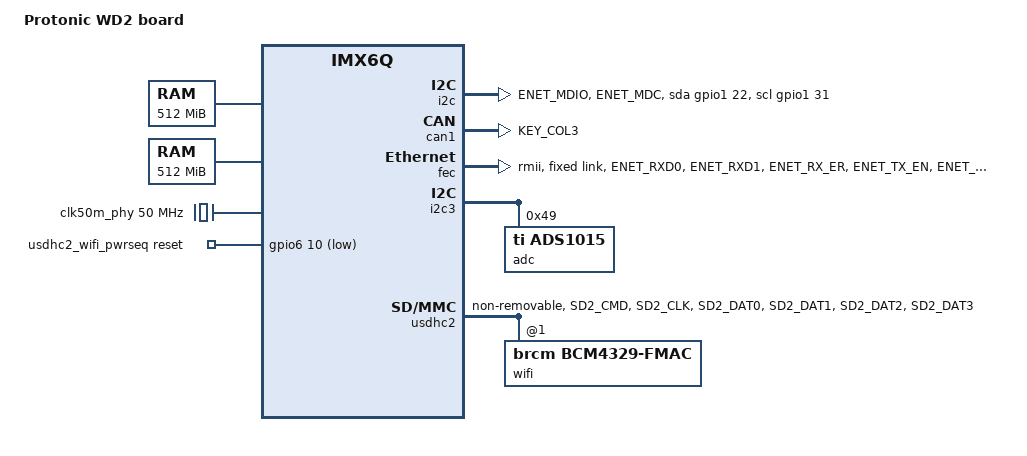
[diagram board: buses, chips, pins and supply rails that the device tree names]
// SPDX-License-Identifier: GPL-2.0-or-later
/*
 * Copyright (c) 2018 Protonic Holland
 */

/dts-v1/;
#include "imx6q.dtsi"
#include "imx6qdl-prti6q.dtsi"
#include <dt-bindings/leds/common.h>

/ {
	model = "Protonic WD2 board";
	compatible = "prt,prtwd2", "fsl,imx6q";

	memory@10000000 {
		device_type = "memory";
		reg = <0x10000000 0x20000000>;
	};

	memory@80000000 {
		device_type = "memory";
		reg = <0x80000000 0x20000000>;
	};

	clk50m_phy: phy-clock {
		compatible = "fixed-clock";
		#clock-cells = <0>;
		clock-frequency = <50000000>;
		clock-output-names = "enet_ref_pad";
	};

	usdhc2_wifi_pwrseq: usdhc2_wifi_pwrseq {
		compatible = "mmc-pwrseq-simple";
		pinctrl-names = "default";
		pinctrl-0 = <&pinctrl_wifi_npd>;
		reset-gpios = <&gpio6 10 GPIO_ACTIVE_LOW>;
	};

	/* PRTWD2 rev 1 bitbang I2C for Ethernet Switch */
	i2c {
		compatible = "i2c-gpio";
		pinctrl-names = "default";
		pinctrl-0 = <&pinctrl_i2c4>;
		sda-gpios = <&gpio1 22 (GPIO_ACTIVE_HIGH|GPIO_OPEN_DRAIN)>;
		scl-gpios = <&gpio1 31 GPIO_ACTIVE_HIGH>;
		i2c-gpio,delay-us = <20>;	/* ~10 kHz */
		i2c-gpio,scl-output-only;
		#address-cells = <1>;
		#size-cells = <0>;
	};
};

&can1 {
	pinctrl-names = "default";
	pinctrl-0 = <&pinctrl_can1 &pinctrl_can1phy>;
	status = "okay";
};

&clks {
	clocks = <&clk50m_phy>;
	clock-names = "enet_ref_pad";
	assigned-clocks = <&clks IMX6QDL_CLK_ENET_REF_SEL>;
	assigned-clock-parents = <&clk50m_phy>;
};

&fec {
	pinctrl-names = "default";
	pinctrl-0 = <&pinctrl_enet>;
	phy-mode = "rmii";
	status = "okay";

	fixed-link {
		speed = <100>;
		pause;
		full-duplex;
	};
};

&i2c3 {
	adc@49 {
		compatible = "ti,ads1015";
		reg = <0x49>;
		#address-cells = <1>;
		#size-cells = <0>;

		/* V in */
		channel@4 {
			reg = <4>;
			ti,gain = <1>;
			ti,datarate = <3>;
		};

		/* I charge */
		channel@5 {
			reg = <5>;
			ti,gain = <1>;
			ti,datarate = <3>;
		};

		/* V bus  */
		channel@6 {
			reg = <6>;
			ti,gain = <1>;
			ti,datarate = <3>;
		};

		/* nc */
		channel@7 {
			reg = <7>;
			ti,gain = <1>;
			ti,datarate = <3>;
		};
	};
};

&usdhc2 {
	pinctrl-names = "default";
	pinctrl-0 = <&pinctrl_usdhc2>;
	no-1-8-v;
	non-removable;
	mmc-pwrseq = <&usdhc2_wifi_pwrseq>;
	#address-cells = <1>;
	#size-cells = <0>;
	status = "okay";

	wifi@1 {
		compatible = "brcm,bcm4329-fmac";
		reg = <1>;
	};
};

&iomuxc {
	pinctrl-names = "default";
	pinctrl-0 = <&pinctrl_usb_eth_chg>;

	pinctrl_can1phy: can1phy {
		fsl,pins = <
			/* CAN1_SR */
			MX6QDL_PAD_KEY_COL3__GPIO4_IO12	0x13070
		>;
	};

	pinctrl_enet: enetgrp {
		fsl,pins = <
			/* MX6QDL_ENET_PINGRP4 */
			MX6QDL_PAD_ENET_RXD0__ENET_RX_DATA0	0x1b0b0
			MX6QDL_PAD_ENET_RXD1__ENET_RX_DATA1	0x1b0b0
			MX6QDL_PAD_ENET_RX_ER__ENET_RX_ER	0x130b0
			MX6QDL_PAD_ENET_TX_EN__ENET_TX_EN	0x1b0b0
			MX6QDL_PAD_ENET_TXD0__ENET_TX_DATA0	0x1b0b0
			MX6QDL_PAD_ENET_TXD1__ENET_TX_DATA1	0x1b0b0
			MX6QDL_PAD_ENET_CRS_DV__ENET_RX_EN	0x1b0b0

			MX6QDL_PAD_GPIO_16__ENET_REF_CLK	0x1b0b0
			/* Phy reset */
			MX6QDL_PAD_CSI0_DAT4__GPIO5_IO22	0x1b0b0
			/* nINTRP */
			MX6QDL_PAD_CSI0_DAT5__GPIO5_IO23	0x1b0b0

			MX6QDL_PAD_ENET_MDIO__ENET_MDIO		0x10030
			MX6QDL_PAD_ENET_MDC__ENET_MDC		0x10030
		>;
	};

	pinctrl_i2c4: i2c4grp {
		fsl,pins = <
			MX6QDL_PAD_ENET_MDIO__GPIO1_IO22	0x1f8b0
			MX6QDL_PAD_ENET_MDC__GPIO1_IO31		0x1f8b0
		>;
	};

	pinctrl_usb_eth_chg: usbethchggrp {
		fsl,pins = <
			/* USB charging control */
			MX6QDL_PAD_NANDF_CS0__GPIO6_IO11	0x130b0
			MX6QDL_PAD_NANDF_CS1__GPIO6_IO14	0x130b0
			MX6QDL_PAD_NANDF_CS2__GPIO6_IO15	0x130b0
			MX6QDL_PAD_NANDF_CS3__GPIO6_IO16	0x130b0
			>;
	};

	pinctrl_usdhc2: usdhc2grp {
		fsl,pins = <
			MX6QDL_PAD_SD2_CMD__SD2_CMD		0x170b9
			MX6QDL_PAD_SD2_CLK__SD2_CLK		0x100b9
			MX6QDL_PAD_SD2_DAT0__SD2_DATA0		0x170b9
			MX6QDL_PAD_SD2_DAT1__SD2_DATA1		0x170b9
			MX6QDL_PAD_SD2_DAT2__SD2_DATA2		0x170b9
			MX6QDL_PAD_SD2_DAT3__SD2_DATA3		0x170b9
		>;
	};

	pinctrl_wifi_npd: wifinpd {
		fsl,pins = <
			/* WL_REG_ON */
			MX6QDL_PAD_NANDF_RB0__GPIO6_IO10	0x13069
		>;
	};
};
